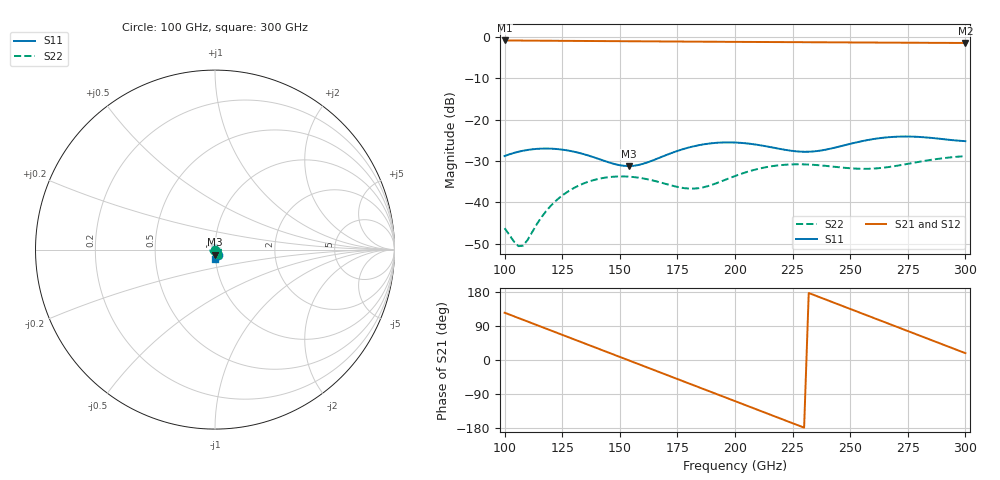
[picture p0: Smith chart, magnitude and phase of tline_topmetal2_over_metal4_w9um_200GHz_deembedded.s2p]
! Created with skrf 2.0.1 (http://scikit-rf.org).
# GHz S DB R 50.0
!freq dBS11 angS11 dBS21 angS21 dBS12 angS12 dBS22 angS22
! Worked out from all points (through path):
!   101 points, 100 GHz to 300 GHz, reference 50 ohm
!   highest |S21| = -0.90 dB at 100 GHz (marker M1); lowest = -1.5 dB at 300 GHz (marker M2)
!   group delay of S21, straight-line fit = 6.48 ps
!   lowest |S11| = -31.2 dB at 154 GHz (marker M3), VSWR 1.06, Z = 50 - j2.74 ohm
!   |S11| at or under -10 dB: start of sweep to end of sweep
!   |S22| runs from -50.6 to -28.8 dB; largest |S21 - S12| = 1e-13
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100  -28.82 -61.6  -0.90 124.8  -0.90 124.8  -46.23 -90.7
106  -27.78 -69.0  -0.93 110.8  -0.93 110.8  -50.59 -58.7
108  -27.54 -71.6  -0.93 106.1  -0.93 106.1  -50.47 -38.8
120  -27.03 -87.2  -0.98 78.1  -0.98 78.1  -40.86 -8.2
134  -28.31 -100.6  -1.02 45.5  -1.02 45.5  -35.51 -35.0
144  -30.12 -100.8  -1.06 22.1  -1.06 22.1  -34.01 -61.6
154  -31.24 -88.0  -1.09 -1.2  -1.09 -1.2  -33.80 -92.6
168  -29.06 -71.9  -1.14 -33.9  -1.14 -33.9  -35.25 -147.1
184  -26.23 -77.7  -1.19 -71.2  -1.19 -71.2  -36.59 123.8
192  -25.62 -84.2  -1.22 -89.9  -1.22 -89.9  -35.37 77.0
200  -25.55 -90.7  -1.24 -108.5  -1.24 -108.5  -33.65 37.1
208  -25.97 -95.6  -1.26 -127.2  -1.26 -127.2  -32.21 2.5
218  -26.94 -97.2  -1.29 -150.5  -1.29 -150.5  -31.12 -37.7
226  -27.65 -93.3  -1.31 -169.2  -1.31 -169.2  -30.82 -69.6
234  -27.71 -86.0  -1.33 172.1  -1.33 172.1  -30.94 -102.8
242  -26.97 -79.9  -1.36 153.4  -1.36 153.4  -31.34 -138.5
252  -25.61 -78.1  -1.39 130.1  -1.39 130.1  -31.84 172.5
260  -24.72 -80.5  -1.41 111.4  -1.41 111.4  -31.85 130.5
268  -24.22 -84.5  -1.43 92.7  -1.43 92.7  -31.37 88.7
282  -24.28 -91.1  -1.47 60.1  -1.47 60.1  -30.01 20.8
292  -24.84 -91.9  -1.49 36.7  -1.49 36.7  -29.23 -24.3
300  -25.22 -89.1  -1.51 18.0  -1.51 18.0  -28.84 -59.8
